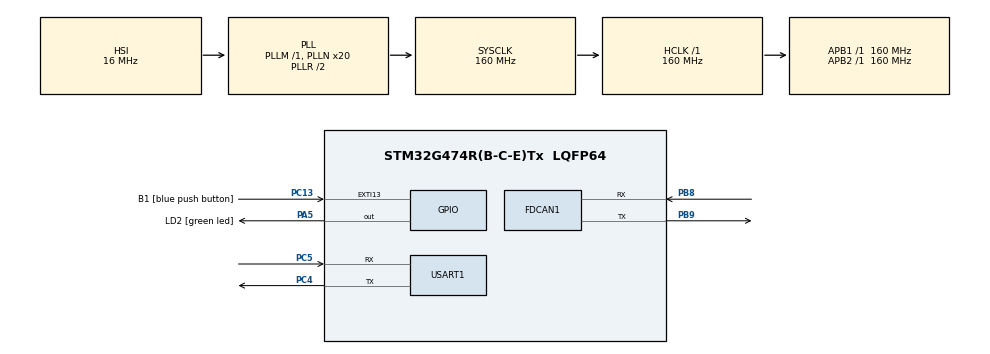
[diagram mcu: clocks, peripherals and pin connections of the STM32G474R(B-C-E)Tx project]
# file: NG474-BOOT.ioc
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FDCAN1.AutoRetransmission=ENABLE
FDCAN1.ClockDivider=FDCAN_CLOCK_DIV2
FDCAN1.NominalSyncJumpWidth=16
FDCAN1.NominalTimeSeg1=63
FDCAN1.NominalTimeSeg2=16
FDCAN1.StdFiltersNbr=10
FDCAN1.TransmitPause=ENABLE
Mcu.Family=STM32G4
Mcu.Name=STM32G474R(B-C-E)Tx
Mcu.Package=LQFP64
NVIC.EXTI15_10_IRQn=true\:0\:0\:false\:false\:true\:true\:true
NVIC.FDCAN1_IT0_IRQn=true\:0\:0\:false\:false\:true\:true\:true
NVIC.PriorityGroup=NVIC_PRIORITYGROUP_4
NVIC.TIM1_UP_TIM16_IRQn=true\:0\:0\:false\:false\:true\:true\:true
PA13.GPIO_Label=T_SWDIO
PA13.Signal=SYS_JTMS-SWDIO
PA14.GPIO_Label=T_SWCLK
PA14.Signal=SYS_JTCK-SWCLK
PA5.GPIO_Label=LD2 [green led]
PA5.Signal=GPIO_Output
PB3.GPIO_Label=T_SWO
PB3.Signal=SYS_JTDO-SWO
PB8-BOOT0.Mode=FDCAN_Activate
PB8-BOOT0.Signal=FDCAN1_RX
PB9.Mode=FDCAN_Activate
PB9.Signal=FDCAN1_TX
PC0.GPIO_Label=LPUART1_RX [STLINKV3E_VCP_TX]
PC0.Signal=LPUART1_RX
PC1.GPIO_Label=LPUART1_TX [STLINKV3E_VCP_RX]
PC1.Signal=LPUART1_TX
PC13.GPIO_Label=B1 [blue push button]
PC13.Signal=GPXTI13
PC14-OSC32_IN.Signal=RCC_OSC32_IN
PC15-OSC32_OUT.Signal=RCC_OSC32_OUT
PC4.Mode=Asynchronous
PC4.Signal=USART1_TX
PC5.Mode=Asynchronous
PC5.Signal=USART1_RX
PF0-OSC_IN.Signal=RCC_OSC_IN
PF1-OSC_OUT.Signal=RCC_OSC_OUT
ProjectManager.HeapSize=0x200
ProjectManager.StackSize=0x400
ProjectManager.TargetToolchain=STM32CubeIDE
RCC.ADC12Freq_Value=160000000
RCC.ADC345Freq_Value=160000000
RCC.AHBFreq_Value=160000000
RCC.APB1Freq_Value=160000000
RCC.APB1TimFreq_Value=160000000
RCC.APB2Freq_Value=160000000
RCC.APB2TimFreq_Value=160000000
RCC.CortexFreq_Value=160000000
RCC.EXTERNAL_CLOCK_VALUE=12288000
RCC.HCLKFreq_Value=160000000
RCC.HSE_VALUE=24000000
RCC.HSI48_VALUE=48000000
RCC.HSI_VALUE=16000000
RCC.LSE_VALUE=32768
RCC.PLLN=20
RCC.RTCClockSelection=RCC_RTCCLKSOURCE_LSE
RCC.SYSCLKFreq_VALUE=160000000
RCC.SYSCLKSource=RCC_SYSCLKSOURCE_PLLCLK
RCC.USBFreq_Value=160000000
RCC.VCOOutputFreq_Value=320000000
TIM16.AutoReloadPreload=TIM_AUTORELOAD_PRELOAD_DISABLE
TIM16.PeriodNoDither=5000-1
TIM16.Prescaler=160
TIM16.RepetitionCounter=200
USART1.VirtualMode-Asynchronous=VM_ASYNC
VP_SYS_VS_DBSignals.Mode=DisableDeadBatterySignals
VP_TIM16_VS_ClockSourceINT.Mode=Enable_Timer
board=NUCLEO-G474RE

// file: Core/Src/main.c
/* USER CODE BEGIN Header */
/**
  ******************************************************************************
  * @file           : main.c
  * @brief          : Main program body
  ******************************************************************************
  * @attention
  *
  * <h2><center>&copy; Copyright (c) 2020 STMicroelectronics.
  * All rights reserved.</center></h2>
  *
  * This software component is licensed by ST under BSD 3-Clause license,
  * the "License"; You may not use this file except in compliance with the
  * License. You may obtain a copy of the License at:
  *                        opensource.org/licenses/BSD-3-Clause
  *
  ******************************************************************************
  */
/* USER CODE END Header */
#include <stdio.h>
#include "main.h"
#include "fdcan.h"
#include "tim.h"
#include "usart.h"
#include "gpio.h"

/* USER CODE BEGIN Includes */
#include "string.h"
#include "bootloader.h"
#include "canDriver.h"
#include "timer.h"
#include "uartMsg.h"
/* USER CODE END Includes */

/* USER CODE BEGIN PD */
#define TEST_MAIN	0
/* USER CODE END PD */

void SystemClock_Config(void);

/* USER CODE BEGIN 0 */
#if	TEST_MAIN == 1
extern UART_HandleTypeDef huart1;
int main(void)
{
	// Init peripherals
	HAL_Init();
	SystemClock_Config();
	MX_GPIO_Init();
	MX_FDCAN1_Init();
	MX_TIM16_Init();
	MX_USART1_UART_Init();

	bootloader_JumpToUserApp(0x08040000);
	while(1)
	{

	}

}
#endif
/* USER CODE END 0 */

#if TEST_MAIN == 0
int main(void)
{

  /* MCU Configuration--------------------------------------------------------*/

  /* Reset of all peripherals, Initializes the Flash interface and the Systick. */
  HAL_Init();

  /* Configure the system clock */
  SystemClock_Config();

  /* Initialize all configured peripherals */
  MX_GPIO_Init();
  MX_FDCAN1_Init();
  MX_TIM16_Init();
  MX_USART1_UART_Init();
  /* USER CODE BEGIN 2 */

  /*
   * Initialize the CAN:
   * 1) Initialize receive filters.
   * 2) Initialize interrupts.
   * 3) Start CAN listening
   * 4) Send Hello! message over CAN to HOST application
   */
  can_init(&hfdcan1);
  uart_send_msg("\r\nCan init OK\r\n");

  /*
   * Start Timer16:
   * Timer 16 waits for 10 seconds to receive enter bootloader command (0x00)
   * If command is not received, bootloader jumps to user application stored in
   * memory
   */

  uart_send_msg("Starting timer:\r\n");
  start_timer();
  /* USER CODE END 2 */

  /* Infinite loop */
  while (1)
  {

  }
}
#endif

void SystemClock_Config(void)
{
  RCC_OscInitTypeDef RCC_OscInitStruct = {0};
  RCC_ClkInitTypeDef RCC_ClkInitStruct = {0};
  RCC_PeriphCLKInitTypeDef PeriphClkInit = {0};

  /** Configure the main internal regulator output voltage
  */
  HAL_PWREx_ControlVoltageScaling(PWR_REGULATOR_VOLTAGE_SCALE1_BOOST);
  /** Initializes the RCC Oscillators according to the specified parameters
  * in the RCC_OscInitTypeDef structure.
  */
  RCC_OscInitStruct.OscillatorType = RCC_OSCILLATORTYPE_HSI;
  RCC_OscInitStruct.HSIState = RCC_HSI_ON;
  RCC_OscInitStruct.HSICalibrationValue = RCC_HSICALIBRATION_DEFAULT;
  RCC_OscInitStruct.PLL.PLLState = RCC_PLL_ON;
  RCC_OscInitStruct.PLL.PLLSource = RCC_PLLSOURCE_HSI;
  RCC_OscInitStruct.PLL.PLLM = RCC_PLLM_DIV1;
  RCC_OscInitStruct.PLL.PLLN = 20;
  RCC_OscInitStruct.PLL.PLLP = RCC_PLLP_DIV2;
  RCC_OscInitStruct.PLL.PLLQ = RCC_PLLQ_DIV2;
  RCC_OscInitStruct.PLL.PLLR = RCC_PLLR_DIV2;
  if (HAL_RCC_OscConfig(&RCC_OscInitStruct) != HAL_OK)
  {
    Error_Handler();
  }
  /** Initializes the CPU, AHB and APB buses clocks
  */
  RCC_ClkInitStruct.ClockType = RCC_CLOCKTYPE_HCLK|RCC_CLOCKTYPE_SYSCLK
                              |RCC_CLOCKTYPE_PCLK1|RCC_CLOCKTYPE_PCLK2;
  RCC_ClkInitStruct.SYSCLKSource = RCC_SYSCLKSOURCE_PLLCLK;
  RCC_ClkInitStruct.AHBCLKDivider = RCC_SYSCLK_DIV1;
  RCC_ClkInitStruct.APB1CLKDivider = RCC_HCLK_DIV1;
  RCC_ClkInitStruct.APB2CLKDivider = RCC_HCLK_DIV1;

  if (HAL_RCC_ClockConfig(&RCC_ClkInitStruct, FLASH_LATENCY_4) != HAL_OK)
  {
    Error_Handler();
  }
  /** Initializes the peripherals clocks
  */
  PeriphClkInit.PeriphClockSelection = RCC_PERIPHCLK_USART1|RCC_PERIPHCLK_FDCAN;
  PeriphClkInit.Usart1ClockSelection = RCC_USART1CLKSOURCE_PCLK2;
  PeriphClkInit.FdcanClockSelection = RCC_FDCANCLKSOURCE_PCLK1;
  if (HAL_RCCEx_PeriphCLKConfig(&PeriphClkInit) != HAL_OK)
  {
    Error_Handler();
  }
}

void Error_Handler(void)
{
  __disable_irq();
  while (1)
  {
  }
}

/************************ (C) COPYRIGHT STMicroelectronics *****END OF FILE****/
